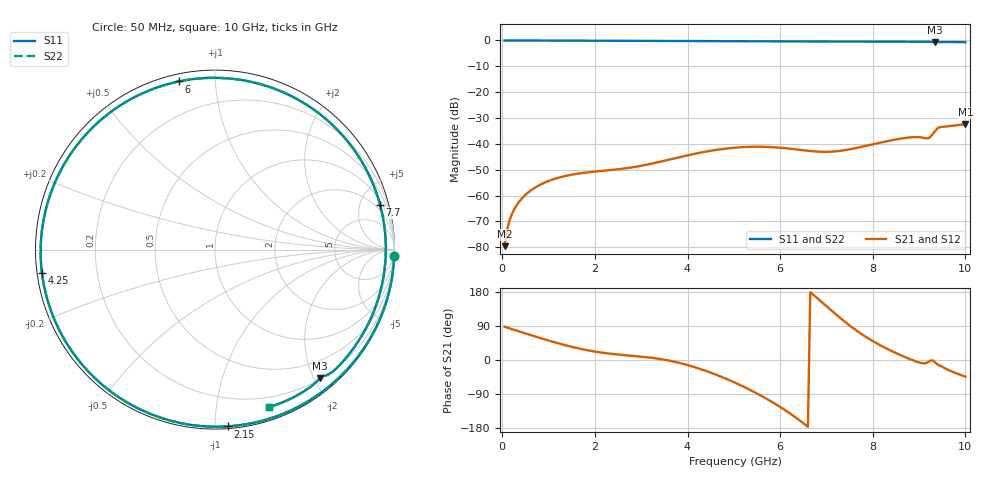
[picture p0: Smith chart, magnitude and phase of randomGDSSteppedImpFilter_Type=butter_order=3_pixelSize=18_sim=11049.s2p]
! freq	dB(S11)	phase(S11)	dB(S12)	phase(S12)
!  dB(S21)	phase(S21)	dB(S22)	phase(S22)
!S-par simulation data
#  GHz  S  DB  R 50
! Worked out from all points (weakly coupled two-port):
!   200 points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, 50 MHz to 10 GHz, reference 50 ohm
!   highest |S21| = -32.36 dB at 10 GHz (marker M1); lowest = -79.5 dB at 50 MHz (marker M2)
!   lowest |S11| = -0.7 dB at 9.35 GHz (marker M3), VSWR 25.23, Z = 10.7 - j105 ohm
!   |S11| at or under -10 dB: nowhere
!   |S22| runs from -0.7 to 0.0 dB; largest |S21 - S12| = 0
!   S11 on the Smith chart (normalised r, x): 50 MHz: 1, -56; 2.15 GHz: 0.01, -1.07; 4.25 GHz: 0.01, -0.07; 6 GHz: 0.04, +0.81; 7.7 GHz: 1.34, +7.28; 10 GHz: 0.11, -1.40
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0.05  -0.01 -2.1  -79.54 87.7  -79.54 87.7  -0.01 -2.1
0.1  -0.01 -4.1  -73.49 85.7  -73.49 85.7  -0.01 -4.1
0.2  -0.01 -8.1  -67.47 81.8  -67.47 81.8  -0.01 -8.1
0.5  -0.02 -20.3  -59.69 70.1  -59.69 70.1  -0.02 -20.3
1  -0.05 -40.3  -54.34 51.3  -54.34 51.3  -0.05 -40.3
1.75  -0.09 -70.1  -51.21 27.9  -51.21 27.9  -0.09 -70.1
2.15  -0.11 -85.9  -50.45 19.4  -50.45 19.4  -0.11 -86.0
2.75  -0.14 -109.8  -49.23 11.7  -49.23 11.7  -0.14 -109.8
3.4  -0.18 -136.1  -46.93 2.8  -46.93 2.8  -0.18 -136.2
4.25  -0.24 -172.4  -43.47 -22.7  -43.47 -22.7  -0.24 -172.5
4.65  -0.27 169.4  -42.23 -40.4  -42.23 -40.4  -0.27 169.4
5.05  -0.30 150.4  -41.42 -61.3  -41.42 -61.3  -0.30 150.4
5.55  -0.34 125.5  -41.09 -91.7  -41.09 -91.7  -0.34 125.4
6  -0.37 102.1  -41.48 -123.9  -41.48 -123.9  -0.37 102.0
6.7  -0.40 65.1  -42.83 173.6  -42.83 173.6  -0.40 65.0
7.2  -0.41 39.4  -42.88 120.9  -42.88 120.9  -0.41 39.3
7.7  -0.42 15.1  -41.36 73.2  -41.36 73.2  -0.42 15.1
8.35  -0.44 -13.4  -38.80 27.1  -38.80 27.1  -0.44 -13.5
9.2  -0.50 -46.3  -37.83 -5.0  -37.83 -5.0  -0.50 -46.3
9.35  -0.69 -50.7  -34.98 -6.6  -34.98 -6.6  -0.69 -50.7
9.45  -0.63 -53.7  -33.52 -14.6  -33.52 -14.6  -0.63 -53.7
10  -0.65 -71.0  -32.36 -43.9  -32.36 -43.9  -0.65 -71.0
